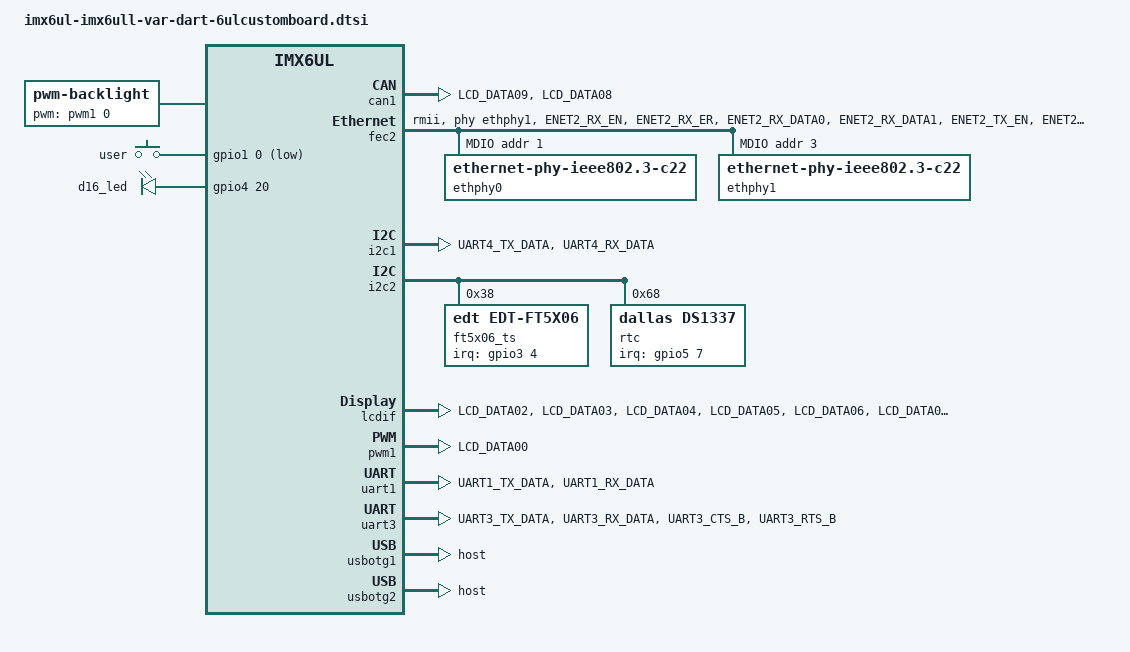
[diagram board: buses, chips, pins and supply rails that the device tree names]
/*
 * Copyright (C) 2015-2019 Variscite Ltd. - https://www.variscite.com
 *
 * This program is free software; you can redistribute it and/or modify
 * it under the terms of the GNU General Public License version 2 as
 * published by the Free Software Foundation.
 */

/ {
	backlight {
		compatible = "pwm-backlight";
		pwms = <&pwm1 0 20000>;
		brightness-levels = <0 4 8 16 32 64 128 255>;
		default-brightness-level = <6>;
		status = "okay";
	};

	chosen {
		stdout-path = &uart1;
	};

	keys {
		compatible = "gpio-keys";
		pinctrl-names = "default";
		pinctrl-0 = <&pinctrl_gpio_keys>;

		user {
			gpios = <&gpio1 0 GPIO_ACTIVE_LOW>;
			linux,code = <KEY_BACK>;
			gpio-key,wakeup;
		};
	};

	leds {
		compatible = "gpio-leds";
		pinctrl-names = "default";
		pinctrl-0 = <&pinctrl_gpio_leds>;

		d16_led {
			gpios = <&gpio4 20 GPIO_ACTIVE_HIGH>;
			linux,default-trigger = "heartbeat";
		};
	};
};

&can1 {
	pinctrl-names = "default";
	pinctrl-0 = <&pinctrl_flexcan1>;
	status = "okay";
};

&fec1 {
	pinctrl-0 = <&pinctrl_enet1>, <&pinctrl_enet1_gpio>;
	/delete-node/ mdio;
};

&fec2 {
	pinctrl-names = "default";
	pinctrl-0 = <&pinctrl_enet2>, <&pinctrl_enet2_gpio>, <&pinctrl_enet2_mdio>;
	phy-mode = "rmii";
	phy-handle = <&ethphy1>;
	phy-reset-gpios=<&gpio1 10 GPIO_ACTIVE_LOW>;
	phy-reset-duration=<100>;
	status = "okay";

	mdio {
		#address-cells = <1>;
		#size-cells = <0>;

		ethphy0: ethernet-phy@1 {
			compatible = "ethernet-phy-ieee802.3-c22";
			micrel,rmii-reference-clock-select-25-mhz;
			micrel,led-mode = <1>;
			clocks = <&rmii_ref_clk>;
			clock-names = "rmii-ref";
			reg = <1>;
		};

		ethphy1: ethernet-phy@3 {
			compatible = "ethernet-phy-ieee802.3-c22";
			micrel,rmii-reference-clock-select-25-mhz;
			micrel,led-mode = <1>;
			clocks = <&rmii_ref_clk>;
			clock-names = "rmii-ref";
			reg = <3>;
		};
	};
};

&i2c1 {
	clock_frequency = <400000>;
	pinctrl-names = "default";
	pinctrl-0 = <&pinctrl_i2c1>;
	status = "okay";
};

&i2c2 {
	ft5x06_ts@38 {
		compatible = "edt,edt-ft5x06";
		reg = <0x38>;
		pinctrl-names = "default";
		pinctrl-0 = <&pinctrl_ft5x06_ts_gpio>;
		interrupt-parent = <&gpio3>;
		interrupts = <4 0>;
		touchscreen-size-x = <800>;
		touchscreen-size-y = <480>;
		touchscreen-inverted-x;
		touchscreen-inverted-y;
	};

	/* DS1337 RTC module */
	rtc@68 {
		compatible = "dallas,ds1337";
		reg = <0x68>;
		pinctrl-names = "default";
		pinctrl-0 = <&pinctrl_rtc>;
		interrupt-parent = <&gpio5>;
		interrupts = <7 IRQ_TYPE_EDGE_FALLING>;
	};
};

&iomuxc {
	pinctrl_enet2: enet2grp {
		fsl,pins = <
			MX6UL_PAD_ENET2_RX_EN__ENET2_RX_EN	0x1b0b0
			MX6UL_PAD_ENET2_RX_ER__ENET2_RX_ER	0x1b0b0
			MX6UL_PAD_ENET2_RX_DATA0__ENET2_RDATA00	0x1b0b0
			MX6UL_PAD_ENET2_RX_DATA1__ENET2_RDATA01	0x1b0b0
			MX6UL_PAD_ENET2_TX_EN__ENET2_TX_EN	0x1b0b0
			MX6UL_PAD_ENET2_TX_DATA0__ENET2_TDATA00	0x1b0b0
			MX6UL_PAD_ENET2_TX_DATA1__ENET2_TDATA01	0x1b0b0
			MX6UL_PAD_ENET2_TX_CLK__ENET2_REF_CLK2	0x4001b031
		>;
	};

	pinctrl_enet2_gpio: enet2_gpiogrp {
		fsl,pins = <
			MX6UL_PAD_JTAG_MOD__GPIO1_IO10		0x1b0b0 /* fec2 reset */
		>;
	};

	pinctrl_enet2_mdio: enet2_mdiogrp {
		fsl,pins = <
			MX6UL_PAD_GPIO1_IO06__ENET2_MDIO	0x1b0b0
			MX6UL_PAD_GPIO1_IO07__ENET2_MDC		0x1b0b0
		>;
	};

	pinctrl_flexcan1: flexcan1grp {
		fsl,pins = <
			MX6UL_PAD_LCD_DATA09__FLEXCAN1_RX	0x1b020
			MX6UL_PAD_LCD_DATA08__FLEXCAN1_TX	0x1b020
		>;
	};

	pinctrl_ft5x06_ts_gpio: ft5x06_ts_gpiogrp {
		fsl,pins = <
			MX6UL_PAD_LCD_RESET__GPIO3_IO04		0x80000000
		>;
	};

	pinctrl_gpio_keys: gpio_keysgrp {
		fsl,pins = <
			MX6UL_PAD_GPIO1_IO00__GPIO1_IO00	0x17059 /* User Button */
		>;
	};

	pinctrl_gpio_leds: gpio_ledsgrp {
		fsl,pins = <
			MX6UL_PAD_CSI_HSYNC__GPIO4_IO20		0x1b0b0 /* User LED */
		>;
	};

	pinctrl_i2c1: i2c1grp {
		fsl,pins = <
			MX6UL_PAD_UART4_TX_DATA__I2C1_SCL	0x4001b8b0
			MX6UL_PAD_UART4_RX_DATA__I2C1_SDA	0x4001b8b0
		>;
	};

	pinctrl_lcdif_ctrl: lcdifctrlgrp {
		fsl,pins = <
			MX6UL_PAD_LCD_CLK__LCDIF_CLK		0x79
			MX6UL_PAD_LCD_ENABLE__LCDIF_ENABLE	0x79
		>;
	};

	pinctrl_lcdif_dat: lcdifdatgrp {
		fsl,pins = <
			MX6UL_PAD_LCD_DATA02__LCDIF_DATA02	0x79
			MX6UL_PAD_LCD_DATA03__LCDIF_DATA03	0x79
			MX6UL_PAD_LCD_DATA04__LCDIF_DATA04	0x79
			MX6UL_PAD_LCD_DATA05__LCDIF_DATA05	0x79
			MX6UL_PAD_LCD_DATA06__LCDIF_DATA06	0x79
			MX6UL_PAD_LCD_DATA07__LCDIF_DATA07	0x79
			MX6UL_PAD_LCD_DATA10__LCDIF_DATA10	0x79
			MX6UL_PAD_LCD_DATA11__LCDIF_DATA11	0x79
			MX6UL_PAD_LCD_DATA12__LCDIF_DATA12	0x79
			MX6UL_PAD_LCD_DATA13__LCDIF_DATA13	0x79
			MX6UL_PAD_LCD_DATA14__LCDIF_DATA14	0x79
			MX6UL_PAD_LCD_DATA15__LCDIF_DATA15	0x79
			MX6UL_PAD_LCD_DATA18__LCDIF_DATA18	0x79
			MX6UL_PAD_LCD_DATA19__LCDIF_DATA19	0x79
			MX6UL_PAD_LCD_DATA20__LCDIF_DATA20	0x79
			MX6UL_PAD_LCD_DATA21__LCDIF_DATA21	0x79
			MX6UL_PAD_LCD_DATA22__LCDIF_DATA22	0x79
			MX6UL_PAD_LCD_DATA23__LCDIF_DATA23	0x79
		>;
	};

	pinctrl_pwm1: pwm1grp {
		fsl,pins = <
			MX6UL_PAD_LCD_DATA00__PWM1_OUT		0x110b0
		>;
	};

	pinctrl_uart1: uart1grp {
		fsl,pins = <
			MX6UL_PAD_UART1_TX_DATA__UART1_DCE_TX   0x1b0b1
			MX6UL_PAD_UART1_RX_DATA__UART1_DCE_RX   0x1b0b1
		>;
	};

	pinctrl_uart3: uart3grp {
		fsl,pins = <
			MX6UL_PAD_UART3_TX_DATA__UART3_DCE_TX	0x1b0b1
			MX6UL_PAD_UART3_RX_DATA__UART3_DCE_RX	0x1b0b1
			MX6UL_PAD_UART3_CTS_B__UART3_DCE_CTS	0x1b0b1
			MX6UL_PAD_UART3_RTS_B__UART3_DCE_RTS	0x1b0b1
		>;
	};

	pinctrl_wdog: wdoggrp {
		fsl,pins = <
			MX6UL_PAD_GPIO1_IO08__WDOG1_WDOG_B	0x78b0
		>;
	};
};

&lcdif {
	pinctrl-names = "default";
	pinctrl-0 = <&pinctrl_lcdif_dat
		     &pinctrl_lcdif_ctrl>;
	display = <&display0>;
	status = "okay";

	display0: display {
		bits-per-pixel = <16>;
		bus-width = <24>;

		display-timings {
			native-mode = <&timing0>;
			timing0: timing0 {
				clock-frequency =<35000000>;
				hactive = <800>;
				vactive = <480>;
				hfront-porch = <40>;
				hback-porch = <40>;
				hsync-len = <48>;
				vback-porch = <29>;
				vfront-porch = <13>;
				vsync-len = <3>;
				hsync-active = <0>;
				vsync-active = <0>;
				de-active = <1>;
				pixelclk-active = <0>;
			};
		};
	};
};

&pwm1 {
	pinctrl-names = "default";
	pinctrl-0 = <&pinctrl_pwm1>;
	status = "okay";
};

&snvs_rtc {
	status = "disabled";
};

/* Console UART */
&uart1 {
	pinctrl-names = "default";
	pinctrl-0 = <&pinctrl_uart1>;
	status = "okay";
};

/* ttymxc2 UART */
&uart3 {
	pinctrl-names = "default";
	pinctrl-0 = <&pinctrl_uart3>;
	fsl,uart-has-rtscts;
	status = "okay";
};

&usbotg1 {
	dr_mode = "host";
	status = "okay";
};

&usbotg2 {
	dr_mode = "host";
	status = "okay";
};

&wdog1 {
	pinctrl-names = "default";
	pinctrl-0 = <&pinctrl_wdog>;
	fsl,ext-reset-output;
};
